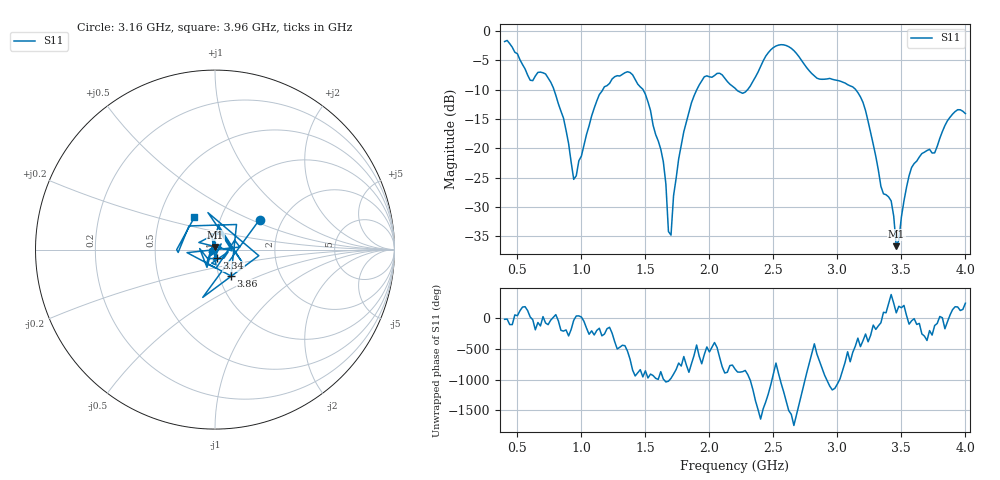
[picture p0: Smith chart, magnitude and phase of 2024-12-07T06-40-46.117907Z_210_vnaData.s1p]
!Created with skrf (http://scikit-rf.org).
# Hz S RI R 50.0
!freq ReS11 ImS11
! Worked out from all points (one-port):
!   181 points, 400 MHz to 4 GHz, reference 50 ohm
!   lowest |S11| = -36.7 dB at 3.46 GHz (marker M1), VSWR 1.03, Z = 50.1 + j1.47 ohm
!   |S11| at or under -10 dB: 785.5 MHz to 1.167 GHz (381.5 MHz wide, 39.1 % of centre); 1.482 GHz to 1.902 GHz (419.9 MHz wide, 24.8 % of centre); 3.143 GHz to end of sweep (the widest 3 of 4)
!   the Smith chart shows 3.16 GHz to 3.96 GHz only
!   S11 on the Smith chart (normalised r, x): 3.16 GHz: 1.54, +0.56; 3.34 GHz: 1.02, -0.09; 3.86 GHz: 1.14, -0.35; 3.96 GHz: 0.75, +0.28
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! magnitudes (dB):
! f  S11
! 400 MHz  -1.8
! 600 MHz  -8.4
! 720 MHz  -7.3
! 860 MHz  -14.8
! 940 MHz  -25.3
! 1.14 GHz  -10.8
! 1.3 GHz  -7.7
! 1.52 GHz  -12.1
! 1.64 GHz  -22.3
! 1.68 GHz  -34.2
! 1.7 GHz  -34.8
! 1.72 GHz  -28.0
! 1.76 GHz  -21.8
! 1.86 GHz  -12.2
! 1.96 GHz  -7.8
! 2.2 GHz  -9.7
! 2.3 GHz  -10.0
! 2.5 GHz  -2.8
! 2.66 GHz  -3.3
! 3.1 GHz  -9.4
! 3.16 GHz  -10.5
! 3.34 GHz  -26.5
! 3.42 GHz  -28.9
! 3.46 GHz  -36.7
! 3.56 GHz  -24.7
! 3.86 GHz  -15.3
! 3.96 GHz  -13.4
! 4 GHz  -14.1
